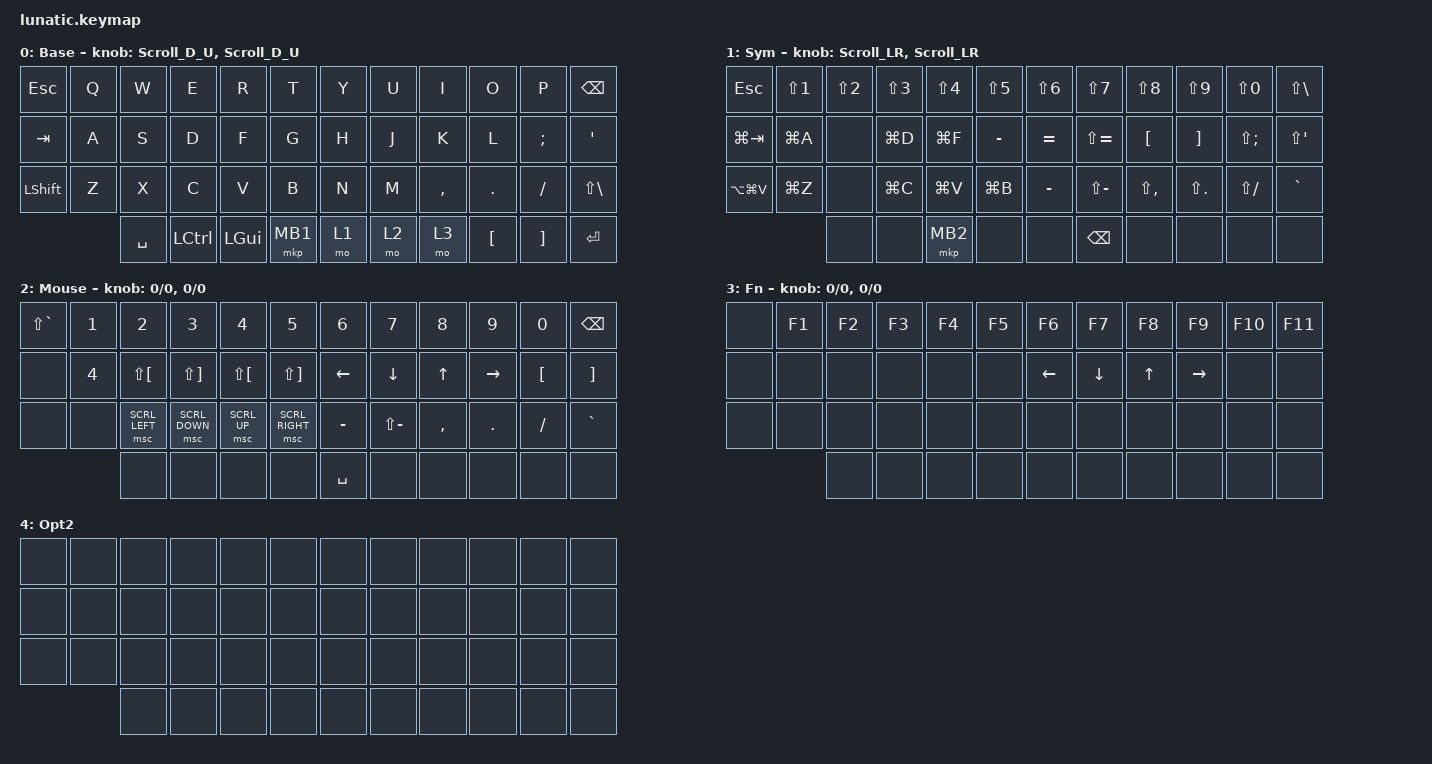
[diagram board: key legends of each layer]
/*
 * Cornix -> Lunatic dactyl-6x4-trackball ZMK keymap
 *
 * Layer behavior:
 * - Hold &mo 1 + trackball = vertical + horizontal scroll
 * - Hold &mo 2 + trackball = vertical + horizontal scroll
 * - &mo 3 removed from base layer
 *
 * Scroll speed:
 * - Uses &zip_scroll_scaler 1 16
 */

#include <dt-bindings/zmk/input_transform.h>
#include <input/processors.dtsi>
#include <zephyr/dt-bindings/input/input-event-codes.h>
#include <dt-bindings/zmk/mouse.h>
#include <behaviors/mouse_keys.dtsi>
#include <behaviors.dtsi>
#include <dt-bindings/zmk/keys.h>
#include <dt-bindings/zmk/pointing.h>

&mmv_input_listener {
    input-processors = <&zip_xy_scaler 2 1>;
};

&msc_input_listener {
    input-processors = <&zip_scroll_scaler 1 16>;
};

&msc {
    acceleration-exponent = <1>;
    time-to-max-speed-ms = <100>;
    delay-ms = <0>;
};

&mmv {
    time-to-max-speed-ms = <500>;
    acceleration-exponent = <1>;
    trigger-period-ms = <16>;
};

&soft_off {
    hold-time-ms = <3000>;
};

&mt {
    tapping-term-ms = <300>;
    flavor = "tap-preferred";
};

&trackball_listener {
    scroll_layer {
        layers = <1 2>;
        input-processors =
            <&zip_xy_transform INPUT_TRANSFORM_Y_INVERT>,
            <&zip_xy_to_scroll_mapper>,
            <&zip_scroll_scaler 1 16>;
    };
};

/ {
    behaviors {
        Scroll_D_U: Scroll_D_U {
            compatible = "zmk,behavior-sensor-rotate";
            label = "SCROLL_D_U";
            #sensor-binding-cells = <0>;
            bindings = <&msc SCRL_DOWN>, <&msc SCRL_UP>;
            tap-ms = <20>;
        };

        Scroll_LR: Scroll_LR {
            compatible = "zmk,behavior-sensor-rotate";
            label = "SCROLL_LR";
            #sensor-binding-cells = <0>;
            bindings = <&msc SCRL_LEFT>, <&msc SCRL_RIGHT>;
            tap-ms = <20>;
        };
    };

    combos {
        compatible = "zmk,combos";

        mb2 {
            bindings = <&mkp MB2>;
            key-positions = <39 38>;
        };
    };

    keymap {
        compatible = "zmk,keymap";

        base_layer {
            display-name = "Base";
            bindings = <
                &kp ESC    &kp Q     &kp W     &kp E      &kp R      &kp T          &kp Y      &kp U      &kp I      &kp O      &kp P      &kp BSPC
                &kp TAB    &kp A     &kp S     &kp D      &kp F      &kp G          &kp H      &kp J      &kp K      &kp L      &kp SEMI   &kp SQT
                &kp LSHFT  &kp Z     &kp X     &kp C      &kp V      &kp B          &kp N      &kp M      &kp COMMA  &kp DOT    &kp FSLH   &kp LS(BSLH)
                                      &kp SPACE &kp LCTRL  &kp LGUI   &mkp MB1       &mo 1      &mo 2      &mo 3      &kp LBKT    &kp RBKT   &kp ENTER
            >;
            sensor-bindings = <&Scroll_D_U>, <&Scroll_D_U>;
        };

        sym_layer {
            display-name = "Sym";
            bindings = <
                &kp ESC        &kp LS(N1)  &kp LS(N2)  &kp LS(N3)    &kp LS(N4)  &kp LS(N5)       &kp LS(N6)     &kp LS(N7)     &kp LS(N8)     &kp LS(N9)   &kp LS(N0)    &kp LS(BSLH)
                &kp LG(TAB)    &kp LG(A)   &none       &kp LG(D)     &kp LG(F)   &kp MINUS        &kp EQUAL      &kp LS(EQUAL)  &kp LBKT       &kp RBKT     &kp LS(SEMI)  &kp LS(SQT)
                &kp LA(LG(V))  &kp LG(Z)   &none       &kp LG(C)     &kp LG(V)   &kp LG(B)        &kp MINUS      &kp LS(MINUS)  &kp LS(COMMA)  &kp LS(DOT)  &kp LS(FSLH)  &kp GRAVE
                                             &none       &none         &mkp MB2    &none            &none          &kp BSPC       &none          &none        &none         &none
            >;
            sensor-bindings = <&Scroll_LR>, <&Scroll_LR>;
        };

        mouse_layer {
            display-name = "Mouse";
            bindings = <
                &kp LS(GRAVE)  &kp N1    &kp N2         &kp N3         &kp N4         &kp N5          &kp N6      &kp N7         &kp N8     &kp N9    &kp N0    &kp BSPC
                &none          &kp N4    &kp LS(LBKT)   &kp LS(RBKT)   &kp LS(LBKT)   &kp LS(RBKT)    &kp LEFT    &kp DOWN       &kp UP     &kp RIGHT &kp LBKT  &kp RBKT
                &none          &none     &msc SCRL_LEFT &msc SCRL_DOWN &msc SCRL_UP   &msc SCRL_RIGHT &kp MINUS   &kp LS(MINUS)  &kp COMMA  &kp DOT   &kp FSLH  &kp GRAVE
                                           &none          &none          &none          &none           &kp SPACE   &none          &none      &none     &none     &none
            >;
            sensor-bindings = <&inc_dec_kp 0 0>, <&inc_dec_kp 0 0>;
        };

        fn_layer {
            display-name = "Fn";
            bindings = <
                &none  &kp F1  &kp F2  &kp F3  &kp F4  &kp F5       &kp F6    &kp F7    &kp F8  &kp F9     &kp F10  &kp F11
                &none  &none   &none   &none   &none   &none        &kp LEFT  &kp DOWN  &kp UP  &kp RIGHT  &none    &none
                &none  &none   &none   &none   &none   &none        &none     &none     &none   &none      &none    &none
                                &none   &none   &none   &none        &none     &none     &none   &none      &none    &none
            >;
            sensor-bindings = <&inc_dec_kp 0 0>, <&inc_dec_kp 0 0>;
        };

        opt2_layer {
            display-name = "Opt2";
            bindings = <
                &none  &none  &none  &none  &none  &none       &none  &none  &none  &none  &none  &none
                &none  &none  &none  &none  &none  &none       &none  &none  &none  &none  &none  &none
                &none  &none  &none  &none  &none  &none       &none  &none  &none  &none  &none  &none
                              &none  &none  &none  &none       &none  &none  &none  &none  &none  &none
            >;
        };
    };
};
